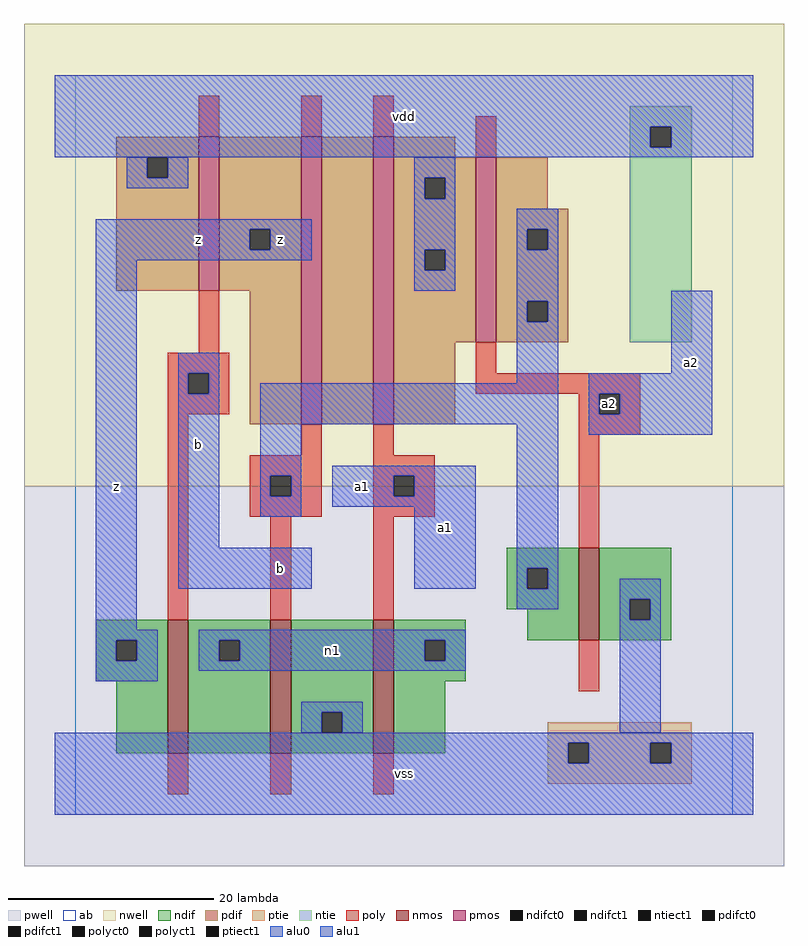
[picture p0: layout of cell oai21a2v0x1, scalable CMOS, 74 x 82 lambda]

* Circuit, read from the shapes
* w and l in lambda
.subckt oai21a2v0x1 a1 a2 b n1 vdd vss z
M1 n1 b z vss nfet w=13 l=2
M2 vss n2 n1 vss nfet w=13 l=2
M3 n1 a1 vss vss nfet w=13 l=2
M4 vss a2 n2 vss nfet w=9 l=2
M5 z b vdd vdd pfet w=15 l=2
M6 n3 n2 z vdd pfet w=28 l=2
M7 vdd a1 n3 vdd pfet w=28 l=2
M8 n2 a2 vdd vdd pfet w=18 l=2
.ends

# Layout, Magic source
magic
tech scmos
<< ab >>
rect 0 0 64 72
<< nwell >>
rect -5 32 69 77
<< pwell >>
rect -5 -5 69 32
<< poly >>
rect 12 66 14 70
rect 22 66 24 70
rect 29 66 31 70
rect 12 45 14 51
rect 9 43 15 45
rect 9 41 11 43
rect 13 41 15 43
rect 9 39 15 41
rect 9 19 11 39
rect 39 64 41 68
rect 39 43 41 46
rect 39 41 55 43
rect 49 39 51 41
rect 53 39 55 41
rect 22 35 24 38
rect 17 33 24 35
rect 17 31 19 33
rect 21 31 24 33
rect 17 29 24 31
rect 29 35 31 38
rect 49 37 55 39
rect 29 33 35 35
rect 29 31 31 33
rect 33 31 35 33
rect 29 29 35 31
rect 19 19 21 29
rect 29 19 31 29
rect 49 26 51 37
rect 49 12 51 17
rect 9 2 11 6
rect 19 2 21 6
rect 29 2 31 6
<< ndif >>
rect 42 24 49 26
rect 42 22 44 24
rect 46 22 49 24
rect 42 20 49 22
rect 2 17 9 19
rect 2 15 4 17
rect 6 15 9 17
rect 2 13 9 15
rect 4 6 9 13
rect 11 17 19 19
rect 11 15 14 17
rect 16 15 19 17
rect 11 6 19 15
rect 21 10 29 19
rect 21 8 24 10
rect 26 8 29 10
rect 21 6 29 8
rect 31 17 38 19
rect 44 17 49 20
rect 51 21 58 26
rect 51 19 54 21
rect 56 19 58 21
rect 51 17 58 19
rect 31 15 34 17
rect 36 15 38 17
rect 31 13 38 15
rect 31 6 36 13
<< pdif >>
rect 4 64 12 66
rect 4 62 7 64
rect 9 62 12 64
rect 4 51 12 62
rect 14 57 22 66
rect 14 55 17 57
rect 19 55 22 57
rect 14 51 22 55
rect 17 38 22 51
rect 24 38 29 66
rect 31 64 37 66
rect 31 62 39 64
rect 31 60 34 62
rect 36 60 39 62
rect 31 55 39 60
rect 31 53 34 55
rect 36 53 39 55
rect 31 46 39 53
rect 41 59 46 64
rect 41 57 48 59
rect 41 55 44 57
rect 46 55 48 57
rect 41 50 48 55
rect 41 48 44 50
rect 46 48 48 50
rect 41 46 48 48
rect 31 38 37 46
<< alu1 >>
rect -2 67 66 72
rect -2 65 56 67
rect 58 65 66 67
rect -2 64 66 65
rect 2 57 23 58
rect 2 55 17 57
rect 19 55 23 57
rect 2 54 23 55
rect 2 18 6 54
rect 10 43 14 45
rect 10 41 11 43
rect 13 41 14 43
rect 58 43 62 51
rect 10 26 14 41
rect 25 33 39 34
rect 25 31 31 33
rect 33 31 39 33
rect 25 30 39 31
rect 10 22 23 26
rect 33 22 39 30
rect 50 41 62 43
rect 50 39 51 41
rect 53 39 62 41
rect 50 37 62 39
rect 2 17 8 18
rect 2 15 4 17
rect 6 15 8 17
rect 2 13 8 15
rect -2 7 66 8
rect -2 5 48 7
rect 50 5 56 7
rect 58 5 66 7
rect -2 0 66 5
<< ptie >>
rect 46 7 60 9
rect 46 5 48 7
rect 50 5 56 7
rect 58 5 60 7
rect 46 3 60 5
<< ntie >>
rect 54 67 60 69
rect 54 65 56 67
rect 58 65 60 67
rect 54 46 60 65
<< nmos >>
rect 9 6 11 19
rect 19 6 21 19
rect 29 6 31 19
rect 49 17 51 26
<< pmos >>
rect 12 51 14 66
rect 22 38 24 66
rect 29 38 31 66
rect 39 46 41 64
<< polyct0 >>
rect 19 31 21 33
<< polyct1 >>
rect 11 41 13 43
rect 51 39 53 41
rect 31 31 33 33
<< ndifct0 >>
rect 44 22 46 24
rect 14 15 16 17
rect 24 8 26 10
rect 54 19 56 21
rect 34 15 36 17
<< ndifct1 >>
rect 4 15 6 17
<< ntiect1 >>
rect 56 65 58 67
<< ptiect1 >>
rect 48 5 50 7
rect 56 5 58 7
<< pdifct0 >>
rect 7 62 9 64
rect 34 60 36 62
rect 34 53 36 55
rect 44 55 46 57
rect 44 48 46 50
<< pdifct1 >>
rect 17 55 19 57
<< alu0 >>
rect 5 62 7 64
rect 9 62 11 64
rect 5 61 11 62
rect 33 62 37 64
rect 33 60 34 62
rect 36 60 37 62
rect 33 55 37 60
rect 33 53 34 55
rect 36 53 37 55
rect 33 51 37 53
rect 43 57 47 59
rect 43 55 44 57
rect 46 55 47 57
rect 43 50 47 55
rect 43 48 44 50
rect 46 48 47 50
rect 43 42 47 48
rect 18 38 47 42
rect 18 33 22 38
rect 18 31 19 33
rect 21 31 22 33
rect 18 29 22 31
rect 43 24 47 38
rect 43 22 44 24
rect 46 22 47 24
rect 43 20 47 22
rect 53 21 57 23
rect 53 19 54 21
rect 56 19 57 21
rect 12 17 38 18
rect 12 15 14 17
rect 16 15 34 17
rect 36 15 38 17
rect 12 14 38 15
rect 22 10 28 11
rect 22 8 24 10
rect 26 8 28 10
rect 53 8 57 19
<< labels >>
rlabel alu0 25 16 25 16 6 n1
rlabel alu1 4 32 4 32 6 z
rlabel alu1 12 36 12 36 6 b
rlabel alu1 12 56 12 56 6 z
rlabel alu1 20 24 20 24 6 b
rlabel alu1 28 32 28 32 6 a1
rlabel alu1 20 56 20 56 6 z
rlabel alu1 32 4 32 4 6 vss
rlabel alu1 36 28 36 28 6 a1
rlabel alu1 32 68 32 68 6 vdd
rlabel polyct1 52 40 52 40 6 a2
rlabel alu1 60 44 60 44 6 a2
<< end >>
